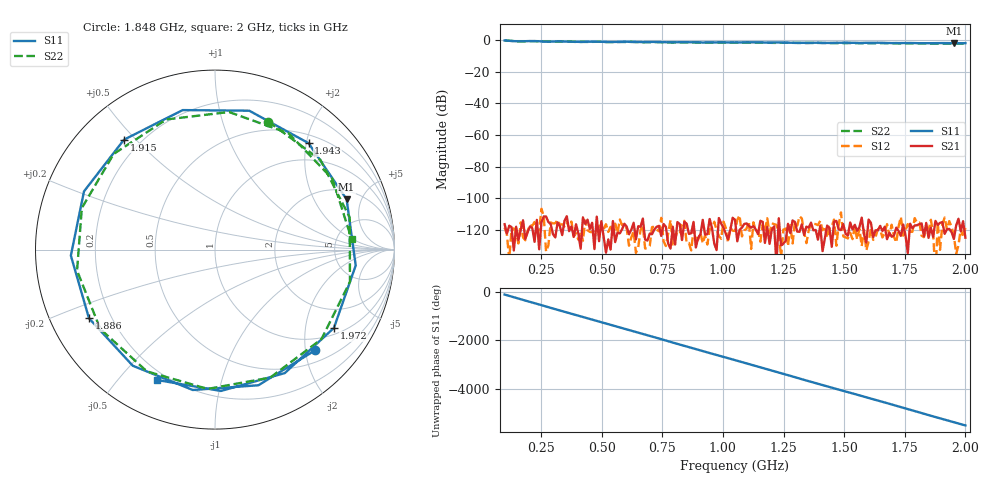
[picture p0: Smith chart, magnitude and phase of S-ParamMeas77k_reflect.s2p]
!Keysight Technologies,N5242B,MY48420967,A.15.65.19
!Date: Friday, December 16, 2022 21:06:19
!Correction: S11(C  2-Port  )
!S21(C  2-Port  )
!S12(C  2-Port  )
!S22(C  2-Port  )
!S2P File: Measurements: S11, S21, S12, S22:
# Hz S  dB  R 50
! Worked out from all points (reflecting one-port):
!   201 points, 100 MHz to 2 GHz, reference 50 ohm
!   lowest |S11| = -2.1 dB at 1.952 GHz (marker M1), VSWR 8.30, Z = 128 + j187 ohm
!   phase of S11 starts at -101 deg and turns -5413 deg over the sweep
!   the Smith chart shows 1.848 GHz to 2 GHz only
!   S11 on the Smith chart (normalised r, x): 1.848 GHz: 0.73, -2.20; 1.886 GHz: 0.12, -0.25; 1.915 GHz: 0.14, +0.46; 1.943 GHz: 0.65, +2.04; 1.972 GHz: 1.22, -2.87; 2 GHz: 0.16, -0.64
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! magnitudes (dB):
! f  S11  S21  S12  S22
! 100 MHz  -0.3  -116.4  -118.5  -0.3
! 157 MHz  -0.8  -126.5  -128.6  -0.8
! 223.5 MHz  -0.7  -127.5  -115.0  -0.7
! 290 MHz  -1.1  -116.4  -115.3  -1.1
! 347 MHz  -0.9  -114.2  -117.8  -0.9
! 423 MHz  -1.2  -112.1  -126.8  -1.2
! 736.5 MHz  -1.2  -117.4  -120.8  -1.4
! 784 MHz  -1.5  -131.8  -113.8  -1.5
! 841 MHz  -1.3  -114.9  -114.3  -1.5
! 907.5 MHz  -1.6  -122.8  -121.8  -1.6
! 1.05 GHz  -1.6  -113.6  -120.7  -1.7
! 1.107 GHz  -1.4  -117.4  -114.7  -1.7
! 1.373 GHz  -1.7  -120.2  -116.1  -1.9
! 1.639 GHz  -1.7  -120.3  -119.7  -2.0
! 1.687 GHz  -1.9  -121.8  -123.7  -2.0
! 1.848 GHz  -2.0  -125.0  -120.6  -2.2
! 1.886 GHz  -1.9  -116.8  -115.4  -2.2
! 1.915 GHz  -2.0  -122.5  -112.2  -2.2
! 1.943 GHz  -2.1  -121.5  -118.2  -2.2
! 1.952 GHz  -2.1  -125.7  -123.3  -2.2
! 1.972 GHz  -2.0  -113.0  -129.6  -2.3
! 2 GHz  -2.0  -124.9  -118.7  -2.3
